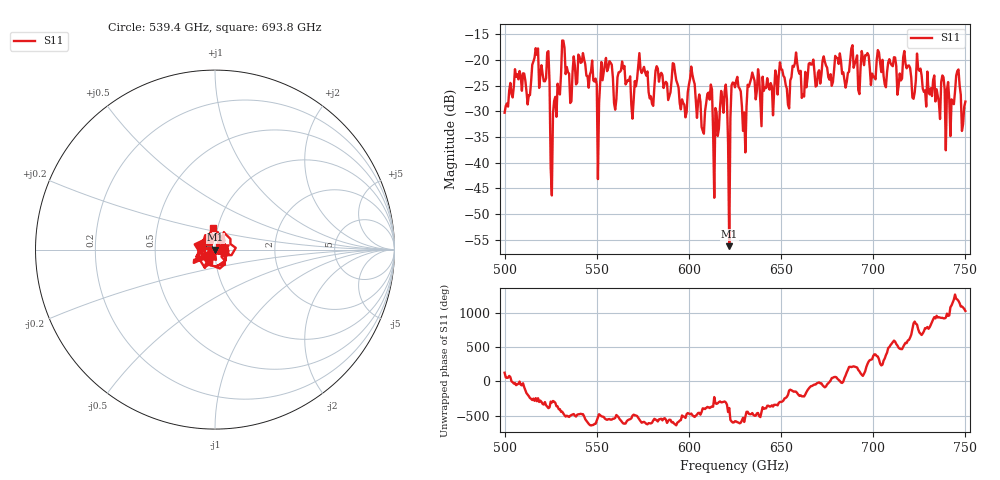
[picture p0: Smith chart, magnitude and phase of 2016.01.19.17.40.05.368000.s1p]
!Created with skrf (http://scikit-rf.org).
# GHz S RI R 50.0
!freq ReS11 ImS11
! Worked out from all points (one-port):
!   401 points, 500 GHz to 750 GHz, reference 50 ohm
!   lowest |S11| = -56.3 dB at 621.9 GHz (marker M1), VSWR 1.00, Z = 50.1 - j0.0761 ohm
!   |S11| at or under -10 dB: start of sweep to end of sweep
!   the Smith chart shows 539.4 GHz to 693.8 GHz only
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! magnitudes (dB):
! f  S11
! 500 GHz  -30.3
! 506.9 GHz  -22.8
! 513.1 GHz  -26.9
! 516.9 GHz  -17.7
! 523.1 GHz  -18.5
! 526.2 GHz  -30.4
! 531.2 GHz  -16.2
! 535.6 GHz  -28.4
! 541.9 GHz  -20.4
! 550 GHz  -24.7
! 553.8 GHz  -22.4
! 562.5 GHz  -22.3
! 570 GHz  -28.0
! 593.8 GHz  -24.6
! 597.5 GHz  -28.7
! 601.9 GHz  -22.8
! 608.1 GHz  -34.4
! 611.2 GHz  -27.7
! 614.4 GHz  -29.4
! 618.8 GHz  -30.3
! 621.9 GHz  -56.3
! 625 GHz  -25.3
! 630 GHz  -30.2
! 633.8 GHz  -23.6
! 656.2 GHz  -21.1
! 687.5 GHz  -20.1
! 718.8 GHz  -21.1
! 750 GHz  -28.1
